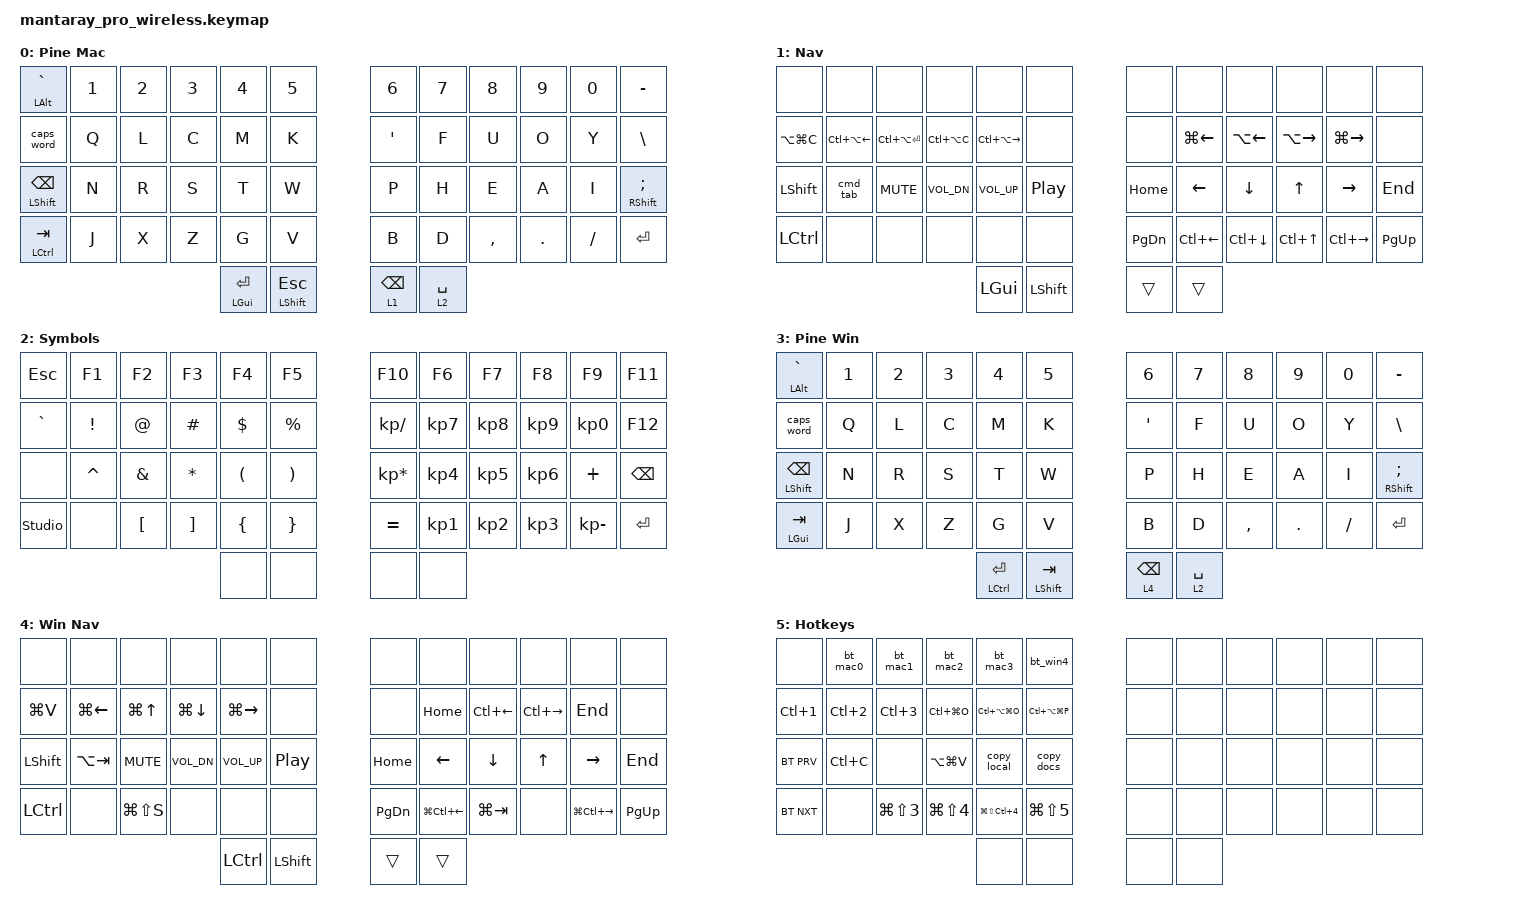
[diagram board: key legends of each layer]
#include <behaviors.dtsi>
#include <dt-bindings/zmk/keys.h>
#include <dt-bindings/zmk/bt.h>
#include <dt-bindings/zmk/outputs.h>

// Mouse/pointing support is disabled. To restore it, uncomment the block below,
// re-enable CONFIG_ZMK_POINTING in mantaray_pro_wireless_left.conf, and restore the
// commented mouse layers at the end of the keymap node.
// #define ZMK_POINTING_DEFAULT_MOVE_VAL 1600 // default: 600
// #define ZMK_POINTING_DEFAULT_SCRL_VAL 35   // default: 10
// #include <dt-bindings/zmk/pointing.h>
//
// &mmv {
//     time-to-max-speed-ms = <300>;
// };

/ {

    behaviors {
        // Layer-tap tuned so tap-then-hold repeats backspace instead of engaging the layer.
        ltb: layer_tap_backspace {
            compatible = "zmk,behavior-hold-tap";
            #binding-cells = <2>;
            flavor = "balanced"; // thumb keys don't roll with fingers, so resolve the hold on nested taps
            tapping-term-ms = <200>;
            quick-tap-ms = <200>;
            require-prior-idle-ms = <150>;
            bindings = <&mo>, <&kp>;
        };
    };

    macros {
        bt_mac0: bt_mac0 {
            compatible = "zmk,behavior-macro";
            #binding-cells = <0>;
            bindings = <&bt BT_SEL 0>, <&to 0>;
        };
        bt_mac1: bt_mac1 {
            compatible = "zmk,behavior-macro";
            #binding-cells = <0>;
            bindings = <&bt BT_SEL 1>, <&to 0>;
        };
        bt_mac2: bt_mac2 {
            compatible = "zmk,behavior-macro";
            #binding-cells = <0>;
            bindings = <&bt BT_SEL 2>, <&to 0>;
        };
        bt_mac3: bt_mac3 {
            compatible = "zmk,behavior-macro";
            #binding-cells = <0>;
            bindings = <&bt BT_SEL 3>, <&to 0>;
        };
        bt_win4: bt_win4 {
            compatible = "zmk,behavior-macro";
            #binding-cells = <0>;
            bindings = <&bt BT_SEL 4>, <&to 3>;
        };
        copy_local: copy_local {
            compatible = "zmk,behavior-macro";
            #binding-cells = <0>;
            wait-ms = <500>;
            tap-ms = <50>;
            bindings = <&kp LA(LS(LG(C)))>, <&kp LA(LG(B))>;
        };
        copy_docs: copy_docs {
            compatible = "zmk,behavior-macro";
            #binding-cells = <0>;
            wait-ms = <500>;
            tap-ms = <50>;
            bindings = <&kp LA(LS(LG(C)))>, <&kp LA(LG(G))>;
        };
        cmd_tab: cmd_tab {
            compatible = "zmk,behavior-macro";
            #binding-cells = <0>;
            bindings = <&macro_press &kp LGUI>, <&macro_tap &kp TAB>, <&macro_pause_for_release>, <&macro_release &kp LGUI>;
        };
    };

    keymap {
        compatible = "zmk,keymap";

        default_layer { // Layer 0 - Pine Mac
            display-name = "Pine Mac";
            bindings = <
                &mt LALT GRAVE  &kp N1 &kp N2 &kp N3 &kp N4 &kp N5   &kp N6 &kp N7  &kp N8     &kp N9   &kp N0    &kp MINUS
                &caps_word &kp Q &kp L &kp C &kp M &kp K   &kp SINGLE_QUOTE &kp F  &kp U     &kp O   &kp Y &kp BACKSLASH
                &mt LSHIFT BACKSPACE &kp N &kp R &kp S &kp T &kp W   &kp P &kp H  &kp E &kp A &kp I &mt RSHIFT SEMICOLON
                &mt LCTRL TAB &kp J  &kp X &kp Z &kp G &kp V   &kp B &kp D  &kp COMMA &kp DOT &kp FSLH &kp ENTER
                &mt LGUI ENTER &mt LSHIFT ESC &ltb 1 BACKSPACE &lt 2 SPACE 
            >;
        };

        nav_layer { // Layer 1
            display-name = "Nav";
            bindings = <
                &none &none &none &none &none &none   &none &none &none &none &none &none
                &kp LA(LG(C)) &kp LC(LA(LEFT)) &kp LC(LA(RET)) &kp LC(LA(C)) &kp LC(LA(RIGHT)) &none   &none &kp LG(LEFT) &kp LA(LEFT) &kp LA(RIGHT) &kp LG(RIGHT) &none
                &kp LSHIFT &cmd_tab &kp C_MUTE &kp C_VOL_DN &kp C_VOL_UP &kp C_PP   &kp HOME &kp LEFT &kp DOWN &kp UP &kp RIGHT &kp END
                &kp LCTRL &none &none &none &none &none   &kp PG_DN &kp LC(LEFT) &kp LC(DOWN) &kp LC(UP) &kp LC(RIGHT) &kp PG_UP
                &kp LGUI &kp LSHIFT &trans &trans
            >;
        };

        symbols_layer { // Layer 2
            display-name = "Symbols";
            bindings = <
                &kp ESC  &kp F1 &kp F2 &kp F3 &kp F4 &kp F5   &kp F10 &kp F6  &kp F7     &kp F8   &kp F9    &kp F11
                &kp GRAVE &kp EXCLAMATION &kp AT_SIGN &kp HASH &kp DOLLAR &kp PERCENT   &kp KP_DIVIDE &kp KP_N7  &kp KP_N8     &kp KP_N9   &kp KP_N0 &kp F12
                &none &kp CARET &kp AMPS &kp ASTRK &kp LPAR &kp RPAR   &kp KP_MULTIPLY &kp KP_N4  &kp KP_N5 &kp KP_N6 &kp PLUS &kp BSPC
                &studio_unlock &none  &kp LBKT &kp RBKT &kp LBRC &kp RBRC   &kp EQUAL &kp KP_N1  &kp KP_N2 &kp KP_N3 &kp KP_MINUS &kp ENTER
                &none &none &none &none
            >;
        };

        win_base_layer { // Layer 3 - Pine Win
            display-name = "Pine Win";
            bindings = <
                &mt LALT GRAVE  &kp N1 &kp N2 &kp N3 &kp N4 &kp N5   &kp N6 &kp N7  &kp N8     &kp N9   &kp N0    &kp MINUS
                &caps_word &kp Q &kp L &kp C &kp M &kp K   &kp SINGLE_QUOTE &kp F  &kp U     &kp O   &kp Y &kp BACKSLASH
                &mt LSHIFT BACKSPACE &kp N &kp R &kp S &kp T &kp W   &kp P &kp H  &kp E &kp A &kp I &mt RSHIFT SEMICOLON
                &mt LGUI TAB &kp J  &kp X &kp Z &kp G &kp V   &kp B &kp D  &kp COMMA &kp DOT &kp FSLH &kp ENTER
                &mt LCTRL ENTER &mt LSHIFT TAB &ltb 4 BACKSPACE &lt 2 SPACE 
            >;
        };

        win_nav_layer { // Layer 4
            display-name = "Win Nav";
            bindings = <
                &none &none &none &none &none &none   &none &none &none &none &none &none
                &kp LG(V) &kp LG(LEFT) &kp LG(UP) &kp LG(DOWN) &kp LG(RIGHT) &none   &none &kp HOME &kp LC(LEFT) &kp LC(RIGHT) &kp END &none
                &kp LSHIFT &kp LA(TAB) &kp C_MUTE &kp C_VOL_DN &kp C_VOL_UP &kp C_PP   &kp HOME &kp LEFT &kp DOWN &kp UP &kp RIGHT &kp END
                &kp LCTRL &none &kp LG(LS(S)) &none &none &none   &kp PG_DN &kp LG(LC(LEFT)) &kp LG(TAB) &none &kp LG(LC(RIGHT)) &kp PG_UP
                &kp LCTRL &kp LSHIFT &trans &trans
            >;
        };

        hotkey_layer { // Layer 5 - must stay the highest-numbered layer so it always wins over win_base_layer (3)
            display-name = "Hotkeys";
            bindings = <
                &none  &bt_mac0 &bt_mac1 &bt_mac2 &bt_mac3 &bt_win4   &none &none  &none     &none   &none    &none
                &kp LC(N1) &kp LC(N2) &kp LC(N3) &kp LC(LG(O)) &kp LC(LA(LG(O))) &kp LC(LA(LG(P)))   &none &none  &none  &none  &none &none
                &bt BT_PRV &kp LC(C) &none &kp LA(LG(V)) &copy_local &copy_docs   &none &none  &none &none &none &none
                &bt BT_NXT &none  &kp LG(LS(N3)) &kp LG(LS(N4)) &kp LG(LS(LC(N4))) &kp LG(LS(N5))   &none &none  &none &none &none &none
                &none &none &none &none
            >;
        };

        /* Previous mouse layers, kept for reference. Require CONFIG_ZMK_POINTING.
           They live at the end so uncommenting them appends layers 6 and 7 rather than
           shifting the existing indices, which profile_layer_sync.c depends on.
        mouse_layer {
            display-name = "Mouse";
            bindings = <
                &none &kp LG(F) &kp LG(A) &kp LG(T) &kp LG(LS(T)) &none   &none &kp LEFT &kp DOWN  &kp UP     &kp RIGHT    &none
                &none &kp LG(LEFT) &kp LA(LEFT) &kp LA(RIGHT) &kp LG(RIGHT) &none   &msc SCRL_LEFT &msc SCRL_DOWN  &mmv MOVE_UP  &msc SCRL_UP   &msc SCRL_RIGHT &none
                &kp LA(LG(C)) &kp LG(S) &mkp LCLK &mkp MCLK &mkp RCLK &none   &kp LGUI &mmv MOVE_LEFT  &mmv MOVE_DOWN &mmv MOVE_RIGHT &none &none
                &cmd_tab &kp LG(Z)  &kp LG(X) &kp LG(C) &kp LG(V) &none   &none &kp LC(LEFT) &kp LC(DOWN) &kp LC(UP) &kp LC(RIGHT) &none
                &none &none &mkp LCLK &mkp RCLK
            >;
        };

        win_mouse_layer {
            display-name = "Win Mouse";
            bindings = <
                &none  &kp LC(F) &kp LC(A) &kp LC(T) &kp LC(LS(T)) &none   &none &kp LEFT &kp DOWN  &kp UP     &kp RIGHT    &none
                &none &kp HOME &kp LC(LEFT) &kp LC(RIGHT) &kp END &none   &msc SCRL_LEFT &msc SCRL_DOWN  &mmv MOVE_UP  &msc SCRL_UP   &msc SCRL_RIGHT &none
                &kp LG(V) &kp LC(S) &mkp LCLK &mkp MCLK &mkp RCLK &none   &kp LCTRL &mmv MOVE_LEFT  &mmv MOVE_DOWN &mmv MOVE_RIGHT &none &none
                &kp LA(TAB) &kp LC(Z)  &kp LC(X) &kp LC(C) &kp LC(V) &none   &none &kp LG(LC(LEFT)) &kp LG(TAB) &none &kp LG(LC(RIGHT)) &none
                &none &none &mkp LCLK &mkp RCLK
            >;
        };
        */

    };

    combos {
        compatible = "zmk,combos";

        combo_hotkeys {
            timeout-ms = <50>;
            key-positions = <48 49>; // Both left thumb keys, so the layer is reachable while the right hand is on the mouse
            bindings = <&mo 5>;
            layers = <0 1 2 3 4 5>;
            slow-release;
        };

        combo_clear_bt {
            timeout-ms = <50>; // The keys must be pressed within 50ms of each other
            key-positions = <13 22>; // Use key positions 13 (Q) and 22 (P)
            bindings = <&bt BT_CLR>;
            layers = <0 1 2 3 4 5>;
            // To make the combo trigger only on hold, uncomment the line below
            require-prior-idle-ms = <200>;
        };
    };
 };
